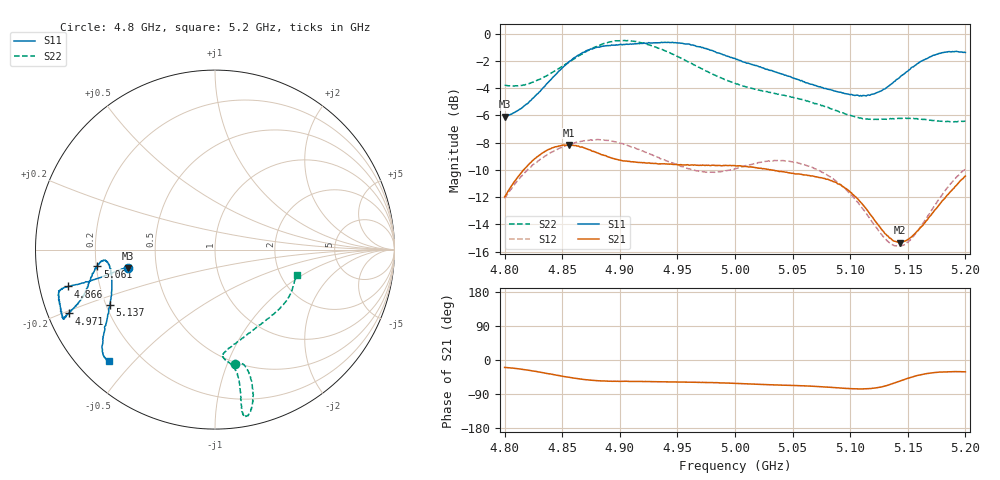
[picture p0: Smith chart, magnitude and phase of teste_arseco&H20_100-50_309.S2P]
! Network Analyzer HP8722D
! Hewlett-Packard
! Data name: Linha & Wilkinson
! Saver's name: Rodrigo Anjos
! Comments: Teste da utilização de aquisição
! continua pelo VNA HP8722D
! Time and date: 6/5/2025 15:08
!  Frequency  S11  S21  S12  S22
# HZ  S  MA R 50
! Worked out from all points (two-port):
!   401 points, 4.8 GHz to 5.2 GHz, reference 50 ohm
!   highest |S21| = -8.16 dB at 4.856 GHz (marker M1); lowest = -15.3 dB at 5.143 GHz (marker M2)
!   |S21| within 3 dB of the highest: 4.806 GHz to 5.093 GHz (286.7 MHz wide, 5.79 % of centre); 5.191844 GHz to end of sweep
!   lowest |S11| = -6.1 dB at 4.8 GHz (marker M3), VSWR 2.97, Z = 17 - j4.58 ohm
!   |S11| at or under -10 dB: nowhere
!   |S22| runs from -6.5 to -0.5 dB; largest |S21 - S12| = 0.62
!   S11 on the Smith chart (normalised r, x): 4.8 GHz: 0.34, -0.09; 4.866 GHz: 0.09, -0.12; 4.971 GHz: 0.06, -0.21; 5.061 GHz: 0.20, -0.07; 5.137 GHz: 0.22, -0.24; 5.2 GHz: 0.09, -0.43
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4.8e9  0.4966 -168.2  0.2517 -19.6  0.2485 -140.7  0.6481 -80.3
4.828e9  0.6001 -167.1  0.353 -30.6  0.3374 -144.8  0.6744 -75.4
4.856e9  0.7903 -165.7  0.3907 -45.7  0.3916 -150.1  0.7886 -74.7
4.866e9  0.8433 -165.9  0.3834 -50.2  0.4023 -151.8  0.8377 -75.2
4.867e9  0.8494 -165.8  0.3842 -50.8  0.4031 -152.0  0.8425 -75.4
4.898e9  0.9091 -162.9  0.345 -56.1  0.3989 -156.4  0.9427 -78.8
4.914e9  0.919 -159.6  0.3379 -56.5  0.3792 -157.0  0.9375 -80.2
4.934e9  0.9275 -156.5  0.3329 -57.5  0.351 -155.6  0.8838 -80.4
4.951e9  0.9257 -155.4  0.3304 -58.2  0.3289 -152.5  0.8222 -79.8
4.971e9  0.8902 -156.5  0.3286 -59.3  0.3122 -146.4  0.745 -79.6
5e9  0.812 -158.9  0.3279 -61.8  0.3194 -137.2  0.6581 -81.3
5.036e9  0.7224 -165.6  0.3139 -66.0  0.3423 -134.3  0.6022 -85.6
5.061e9  0.6624 -171.9  0.303 -68.3  0.3297 -136.2  0.5695 -83.9
5.067e9  0.6524 -173.0  0.3008 -69.2  0.3232 -136.6  0.5598 -82.6
5.087e9  0.6156 -174.4  0.2852 -73.1  0.2894 -138.5  0.5233 -74.8
5.103e9  0.5954 -171.5  0.2556 -76.0  0.2504 -138.6  0.4978 -65.2
5.134e9  0.6457 -154.3  0.1779 -65.3  0.1709 -120.7  0.4869 -43.4
5.137e9  0.6602 -152.3  0.1741 -62.3  0.1679 -116.8  0.4883 -41.5
5.143e9  0.6916 -149.1  0.1709 -55.8  0.166 -109.0  0.4888 -38.0
5.154e9  0.7552 -144.4  0.181 -44.5  0.1789 -95.1  0.4883 -32.4
5.173e9  0.8348 -138.9  0.224 -33.2  0.2329 -80.7  0.4802 -24.2
5.2e9  0.8539 -133.5  0.3003 -31.3  0.319 -76.7  0.4774 -17.5
